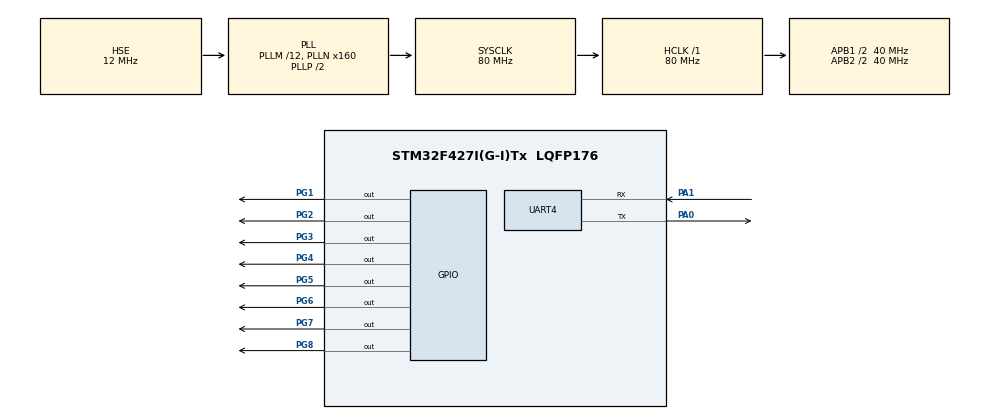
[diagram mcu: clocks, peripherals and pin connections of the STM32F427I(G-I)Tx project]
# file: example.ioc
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Mcu.Family=STM32F4
Mcu.Name=STM32F427I(G-I)Tx
Mcu.Package=LQFP176
NVIC.PriorityGroup=NVIC_PRIORITYGROUP_4
NVIC.UART4_IRQn=true\:3\:0\:true\:false\:true\:true\:true
PA0/WKUP.Mode=Asynchronous
PA0/WKUP.Signal=UART4_TX
PA1.Mode=Asynchronous
PA1.Signal=UART4_RX
PG1.Signal=GPIO_Output
PG2.Signal=GPIO_Output
PG3.Signal=GPIO_Output
PG4.Signal=GPIO_Output
PG5.Signal=GPIO_Output
PG6.Signal=GPIO_Output
PG7.Signal=GPIO_Output
PG8.Signal=GPIO_Output
PH0/OSC_IN.Mode=HSE-External-Oscillator
PH0/OSC_IN.Signal=RCC_OSC_IN
PH1/OSC_OUT.Mode=HSE-External-Oscillator
PH1/OSC_OUT.Signal=RCC_OSC_OUT
ProjectManager.HeapSize=0x200
ProjectManager.StackSize=0x400
ProjectManager.TargetToolchain=MDK-ARM V5
RCC.48MHZClocksFreq_Value=40000000
RCC.AHBFreq_Value=80000000
RCC.APB1CLKDivider=RCC_HCLK_DIV2
RCC.APB1Freq_Value=40000000
RCC.APB1TimFreq_Value=80000000
RCC.APB2CLKDivider=RCC_HCLK_DIV2
RCC.APB2Freq_Value=40000000
RCC.APB2TimFreq_Value=80000000
RCC.CortexFreq_Value=80000000
RCC.HCLKFreq_Value=80000000
RCC.HSE_VALUE=12000000
RCC.HSI_VALUE=16000000
RCC.LSE_VALUE=32768
RCC.PLLM=12
RCC.PLLN=160
RCC.PLLSourceVirtual=RCC_PLLSOURCE_HSE
RCC.SYSCLKFreq_VALUE=80000000
RCC.SYSCLKSource=RCC_SYSCLKSOURCE_PLLCLK
RCC.VCOOutputFreq_Value=160000000
TIM7.Period=65535
TIM7.Prescaler=1
UART4.VirtualMode=Asynchronous
VP_TIM7_VS_ClockSourceINT.Mode=Enable_Timer
board=custom

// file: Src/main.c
/* USER CODE BEGIN Header */
/**
  ******************************************************************************
  * @file           : main.c
  * @brief          : Main program body
  ******************************************************************************
  * @attention
  *
  * <h2><center>&copy; Copyright (c) 2019 STMicroelectronics.
  * All rights reserved.</center></h2>
  *
  * This software component is licensed by ST under BSD 3-Clause license,
  * the "License"; You may not use this file except in compliance with the
  * License. You may obtain a copy of the License at:
  *                        opensource.org/licenses/BSD-3-Clause
  *
  ******************************************************************************
  */
/* USER CODE END Header */

#include "main.h"
#include "tim.h"
#include "usart.h"
#include "gpio.h"

void SystemClock_Config(void);
/* USER CODE BEGIN PFP */
void tim_delay_us(uint16_t us);
/* USER CODE END PFP */

/* USER CODE BEGIN 0 */

uint8_t aRxBuffer;

uint8_t Uart1_RxBuff[256]="asdfjasljga";
uint8_t Uart1_TxBuff[256]="asdfjasljga";
uint8_t Uart1_Rx_Cnt = 0;
uint8_t wave =0;
uint8_t	cAlmStr[] = "(256)\r\n";
/* USER CODE END 0 */

int main(void)
{

  /* MCU Configuration--------------------------------------------------------*/

  /* Reset of all peripherals, Initializes the Flash interface and the Systick. */
  HAL_Init();

  /* Configure the system clock */
  SystemClock_Config();

  /* Initialize all configured peripherals */
  MX_GPIO_Init();
  MX_TIM7_Init();
  MX_UART4_Init();
  /* USER CODE BEGIN 2 */
	HAL_TIM_Base_Start(&htim7);
	HAL_UART_Receive_IT(&huart4, (uint8_t *)&aRxBuffer, 1);
  /* USER CODE END 2 */

  /* Infinite loop */
  while (1)
  {

    /* USER CODE BEGIN 3 */

					Uart1_TxBuff[0]=0x03;
					Uart1_TxBuff[1]=0xfc;
					Uart1_TxBuff[2]=wave++;
					if(wave>250)wave=0;
					Uart1_TxBuff[3]=0xfc;
					Uart1_TxBuff[4]=0x03;
					HAL_UART_Transmit(&huart4,Uart1_TxBuff,5,0xffffffff);
					HAL_Delay(5);

  }
  /* USER CODE END 3 */
}

void SystemClock_Config(void)
{
  RCC_OscInitTypeDef RCC_OscInitStruct = {0};
  RCC_ClkInitTypeDef RCC_ClkInitStruct = {0};

  /** Configure the main internal regulator output voltage
  */
  __HAL_RCC_PWR_CLK_ENABLE();
  __HAL_PWR_VOLTAGESCALING_CONFIG(PWR_REGULATOR_VOLTAGE_SCALE3);
  /** Initializes the CPU, AHB and APB busses clocks
  */
  RCC_OscInitStruct.OscillatorType = RCC_OSCILLATORTYPE_HSE;
  RCC_OscInitStruct.HSEState = RCC_HSE_ON;
  RCC_OscInitStruct.PLL.PLLState = RCC_PLL_ON;
  RCC_OscInitStruct.PLL.PLLSource = RCC_PLLSOURCE_HSE;
  RCC_OscInitStruct.PLL.PLLM = 12;
  RCC_OscInitStruct.PLL.PLLN = 160;
  RCC_OscInitStruct.PLL.PLLP = RCC_PLLP_DIV2;
  RCC_OscInitStruct.PLL.PLLQ = 4;
  if (HAL_RCC_OscConfig(&RCC_OscInitStruct) != HAL_OK)
  {
    Error_Handler();
  }
  /** Initializes the CPU, AHB and APB busses clocks
  */
  RCC_ClkInitStruct.ClockType = RCC_CLOCKTYPE_HCLK|RCC_CLOCKTYPE_SYSCLK
                              |RCC_CLOCKTYPE_PCLK1|RCC_CLOCKTYPE_PCLK2;
  RCC_ClkInitStruct.SYSCLKSource = RCC_SYSCLKSOURCE_PLLCLK;
  RCC_ClkInitStruct.AHBCLKDivider = RCC_SYSCLK_DIV1;
  RCC_ClkInitStruct.APB1CLKDivider = RCC_HCLK_DIV2;
  RCC_ClkInitStruct.APB2CLKDivider = RCC_HCLK_DIV2;

  if (HAL_RCC_ClockConfig(&RCC_ClkInitStruct, FLASH_LATENCY_2) != HAL_OK)
  {
    Error_Handler();
  }
}

/* USER CODE BEGIN 4 */
void tim_delay_us(uint16_t us)
{
//	HAL_TIM_Base_Start_IT(&htim7);
	__HAL_TIM_SetCounter(&htim7,5);
	while(__HAL_TIM_GetCounter(&htim7) < 40*us+5);
//	HAL_TIM_Base_Stop_IT(&htim7);
}
void HAL_UART_RxCpltCallback(UART_HandleTypeDef *huart)
	{
		if(Uart1_Rx_Cnt >= 255)
		{
			Uart1_Rx_Cnt = 0;
			int i=0;for(;i<256;i++)Uart1_RxBuff[i]=0;
			HAL_UART_Transmit(&huart4, (uint8_t *)&cAlmStr, sizeof(cAlmStr),0xFFFF);
		}
		else
		{
			Uart1_RxBuff[Uart1_Rx_Cnt++] = aRxBuffer;
			if(Uart1_RxBuff[Uart1_Rx_Cnt-1] == '!')
			{
				#if 1
				HAL_UART_Transmit(&huart4, (uint8_t *)&Uart1_RxBuff, Uart1_Rx_Cnt,0xffffffff);
				int i=0;for(;i<256;i++){Uart1_RxBuff[i]=0;}
				#else
				HAL_UART_Transmit_IT(&huart4, (uint8_t *)&Uart1_RxBuff, Uart1_Rx_Cnt);
				#endif
				Uart1_Rx_Cnt = 0;
			}
		}
		HAL_UART_Receive_IT(&huart4, (uint8_t *)&aRxBuffer, 1);
		}

/* USER CODE END 4 */

void Error_Handler(void)
{
}

/************************ (C) COPYRIGHT STMicroelectronics *****END OF FILE****/
